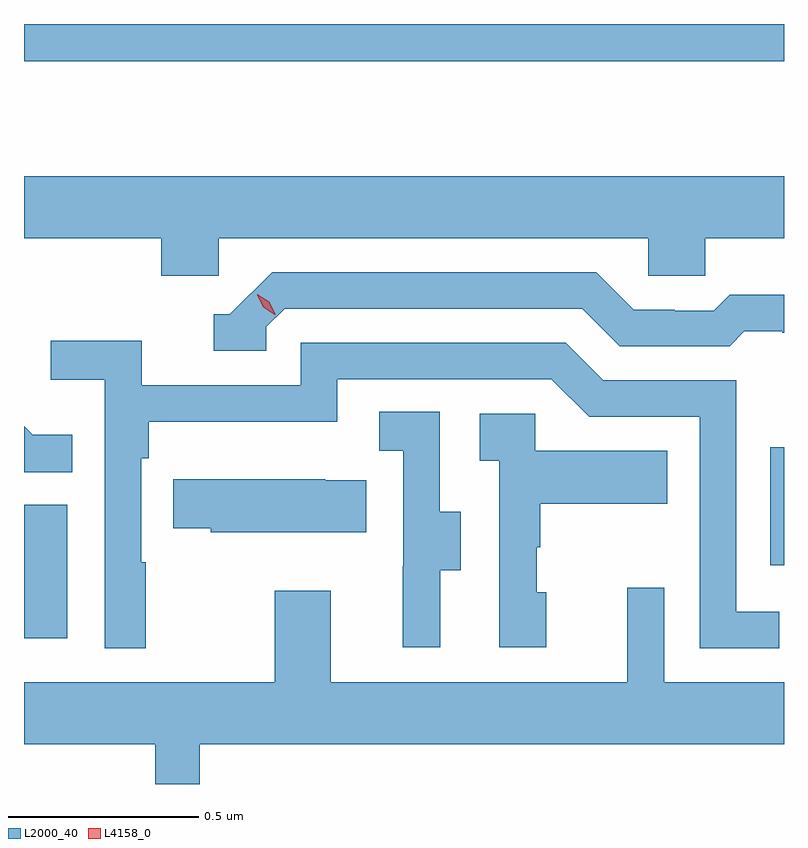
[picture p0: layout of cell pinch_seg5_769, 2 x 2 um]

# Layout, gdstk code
import gdstk
lib = gdstk.Library(unit=1e-6, precision=1e-09)
def R(c, l, rs):  # rectangles x0, y0, x1, y1
    for r in rs: c.add(gdstk.rectangle(r[:2], r[2:], *l))
def P(c, l, *ps):  # polygons
    for p in ps: c.add(gdstk.Polygon(p, *l))
L2000_40 = (2000, 40)
L4158_0 = (4158, 0)

pinch_seg5_769 = lib.new_cell('pinch_seg5_769')
R(pinch_seg5_769, L2000_40, [(831.166,907.656,831.28,908.007), (833.13,907.848,833.166,908.158), (831.166,909.174,833.166,909.272)])
P(pinch_seg5_769, L2000_40, [(831.678,908.708),(832.809,908.708),(832.809,908.61),(832.959,908.61),(832.959,908.708),(833.166,908.708),(833.166,908.872),(831.166,908.872),(831.166,908.708),(831.527,908.708),(831.527,908.61),(831.678,908.61)],
  [(831.804,908.475),(831.852,908.523),(832.635,908.523),(832.734,908.424),(833.023,908.424),(833.062,908.463),(833.161,908.463),(833.161,908.46),(833.166,908.46),(833.166,908.56),(833.023,908.56),(832.981,908.517),(832.878,908.517),(832.878,908.52),(832.771,908.52),(832.672,908.619),(831.819,908.619),(831.708,908.508),(831.665,908.508),(831.665,908.412),(831.804,908.412)],
  [(831.487,907.856),(831.474,907.856),(831.474,908.129),(831.494,908.129),(831.494,908.225),(831.99,908.225),(831.99,908.337),(832.554,908.337),(832.653,908.238),(832.944,908.238),(832.944,907.629),(833.153,907.629),(833.153,907.725),(833.04,907.725),(833.04,908.334),(832.69,908.334),(832.591,908.433),(831.894,908.433),(831.894,908.322),(831.476,908.322),(831.476,908.438),(831.237,908.438),(831.237,908.336),(831.378,908.336),(831.378,907.629),(831.487,907.629)],
  [(832.261,907.834),(832.315,907.834),(832.315,907.989),(832.26,907.989),(832.26,908.252),(832.101,908.252),(832.101,908.149),(832.164,908.149),(832.164,907.845),(832.163,907.845),(832.163,907.632),(832.261,907.632)],
  [(832.54,907.776),(832.515,907.776),(832.515,907.895),(832.525,907.895),(832.525,908.009),(832.859,908.009),(832.859,908.149),(832.512,908.149),(832.512,908.247),(832.365,908.247),(832.365,908.123),(832.416,908.123),(832.416,907.632),(832.54,907.632)],
  [(831.293,908.191),(831.189,908.191),(831.166,908.214),(831.166,908.092),(831.293,908.092)],
  [(832.067,908.071),(831.959,908.071),(831.959,908.074),(831.559,908.074),(831.559,907.945),(831.657,907.945),(831.657,907.934),(832.067,907.934)],
  [(831.629,907.376),(833.166,907.376),(833.166,907.54),(832.851,907.54),(832.851,907.789),(832.754,907.789),(832.754,907.54),(831.973,907.54),(831.973,907.78),(831.826,907.78),(831.826,907.54),(831.166,907.54),(831.166,907.376),(831.512,907.376),(831.512,907.272),(831.629,907.272)])
P(pinch_seg5_769, L4158_0, [(831.826,908.507),(831.796,908.527),(831.78,908.56),(831.78,908.561),(831.78,908.561),(831.811,908.541),(831.827,908.508),(831.827,908.507)])

lib.write_gds('pinch_seg5_769.gds')
